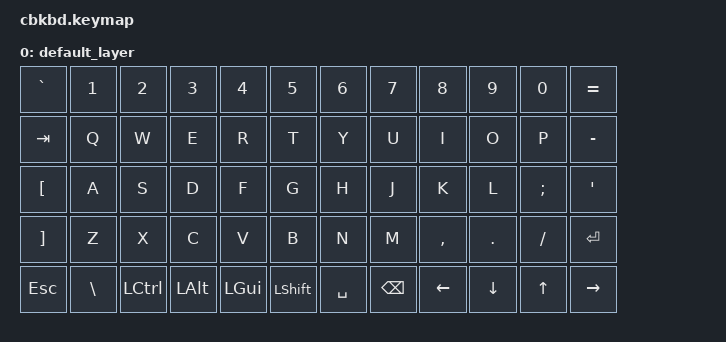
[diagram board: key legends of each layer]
#include <behaviors.dtsi>
#include <dt-bindings/zmk/keys.h>

#define DEFAULT 0


#define CMDR(usage) &ch LG(usage) usage
#define OPTR(usage) &ch LA(usage) usage

/ {
	behaviors {
		ch: cmd_hold {
			compatible = "zmk,behavior-hold-tap";
			label = "CMD_HOLD";
			#binding-cells = <2>;
			tapping-term-ms = <200>;
			quick_tap_ms = <0>;
			flavor = "tap-preferred";
			bindings = <&kp>, <&kp>;
		};
		hm: homerow_mods {
			compatible = "zmk,behavior-hold-tap";
			label = "HOMEROW_MODS";
			#binding-cells = <2>;
			tapping-term-ms = <150>;
			quick-tap-ms = <0>;
			flavor = "tap-preferred";
			bindings = <&kp>, <&kp>;
		};
	};
	
	keymap {
		compatible = "zmk,keymap";
		// bottom row clusters are flipped per hand because of weird wiring
		default_layer {

			bindings = <
			&kp GRAVE	&kp N1	&kp N2	&kp N3	&kp N4	&kp N5		&kp N6	&kp N7	&kp N8	&kp N9	&kp N0	&kp EQUAL
			&kp TAB	&kp Q	&kp W	&kp E	&kp R	&kp T		&kp Y	&kp U	&kp I	&kp O	&kp P &kp MINUS
			&kp LBKT	&kp A	&kp S	&kp D	&kp F	&kp G		&kp H	&kp J	&kp K	&kp L &kp SEMI	&kp SQT
			&kp RBKT	&kp Z	&kp X	&kp C	&kp V	&kp B		&kp N	&kp M	&kp COMMA &kp DOT &kp FSLH &kp RET
			&kp ESC	&kp BSLH    &kp LCTL &kp LALT &kp LGUI &kp LSHFT         &kp SPACE &kp BSPC &kp LEFT &kp DOWN &kp UP &kp RIGHT  
			>;
		};	
	};
};


